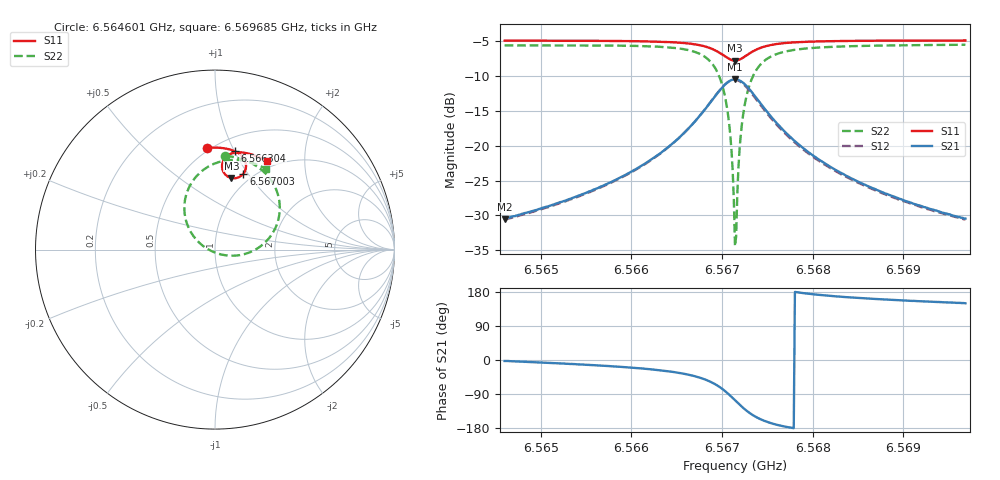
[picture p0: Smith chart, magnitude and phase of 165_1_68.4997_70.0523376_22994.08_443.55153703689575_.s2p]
#  HZ  S  RI  R  50.00
! Rohde & Schwarz Vector Network Analyzer
! Rohde-Schwarz,ZNB20-2Port,1311601062101988,3.16
! Created: UTC 3/20/2024, 5:11:05 PM
! freq[Hz]  re:S11  im:S11  re:S21  im:S21  re:S12  im:S12  re:S22  im:S22
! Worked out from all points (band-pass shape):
!   401 points, 6.564601 GHz to 6.569685 GHz, reference 50 ohm
!   highest |S21| = -10.46 dB at 6.567143 GHz (marker M1); lowest = -30.5 dB at 6.564601 GHz (marker M2)
!   |S21| within 3 dB of the highest: 6.566889 GHz to 6.567398 GHz (508.5 kHz wide, 0.00774 % of centre)
!   lowest |S11| = -7.8 dB at 6.567143 GHz (marker M3), VSWR 2.39, Z = 42.3 + j40.5 ohm
!   |S11| at or under -10 dB: nowhere
!   |S22| runs from -34.4 to -5.5 dB; largest |S21 - S12| = 0.015
!   S11 on the Smith chart (normalised r, x): 6.564601 GHz: 0.48, +0.80; 6.566304 GHz: 0.63, +1.00; 6.567003 GHz: 0.90, +0.95; 6.569685 GHz: 0.90, +1.31
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6.5646005e9  -0.0441 0.5674  0.0298 -0.00136  0.0294 -0.00179  0.0568 0.5229
6.5654522e9  0.0267 0.567  0.0438 -0.00928  0.0431 -0.00977  0.1402 0.5071
6.566304e9  0.109 0.5485  0.0776 -0.0392  0.0765 -0.0402  0.2606 0.4437
6.5665963e9  0.1442 0.5265  0.1009 -0.0764  0.0993 -0.0779  0.3229 0.3708
6.5667997e9  0.1682 0.4916  0.114 -0.1372  0.1115 -0.14  0.3601 0.2535
6.5669141e9  0.1722 0.457  0.1026 -0.1978  0.0976 -0.2016  0.3438 0.138
6.5670031e9  0.1585 0.4234  0.0618 -0.2552  0.0529 -0.2585  0.2688 0.0306
6.5670412e9  0.1451 0.4103  0.0308 -0.2767  0.0198 -0.2785  0.2109 -0.00753
6.5670794e9  0.1272 0.401  -0.00866 -0.2907  -0.0212 -0.2902  0.1386 -0.0307
6.5671048e9  0.1133 0.3977  -0.0382 -0.2942  -0.0512 -0.2915  0.085 -0.0341
6.5671302e9  0.0985 0.3977  -0.0686 -0.2918  -0.0815 -0.2865  0.0307 -0.0264
6.5671429e9  0.0912 0.399  -0.0836 -0.2881  -0.0964 -0.2818  0.00437 -0.0185
6.5671557e9  0.084 0.401  -0.0983 -0.2834  -0.1105 -0.2757  -0.021 -0.00763
6.5671684e9  0.0772 0.4038  -0.1121 -0.2769  -0.124 -0.2683  -0.0448 0.00541
6.5671938e9  0.0648 0.4116  -0.1376 -0.2603  -0.1478 -0.25  -0.0874 0.0381
6.5672319e9  0.0506 0.4268  -0.1672 -0.2291  -0.1744 -0.217  -0.1344 0.0971
6.5672828e9  0.0407 0.4502  -0.1898 -0.1829  -0.193 -0.1704  -0.1661 0.1812
6.5673463e9  0.0405 0.4774  -0.1956 -0.1299  -0.1953 -0.1192  -0.1674 0.2741
6.5675879e9  0.0808 0.5302  -0.1469 -0.0261  -0.1437 -0.0217  -0.059 0.4483
6.5679947e9  0.1416 0.5423  -0.0854 0.0092  -0.0833 0.0106  0.0771 0.4984
6.5688464e9  0.2238 0.5232  -0.0414 0.0157  -0.0404 0.0161  0.2084 0.4824
6.5696854e9  0.287 0.4935  -0.0259 0.0151  -0.0254 0.0152  0.2854 0.4484
